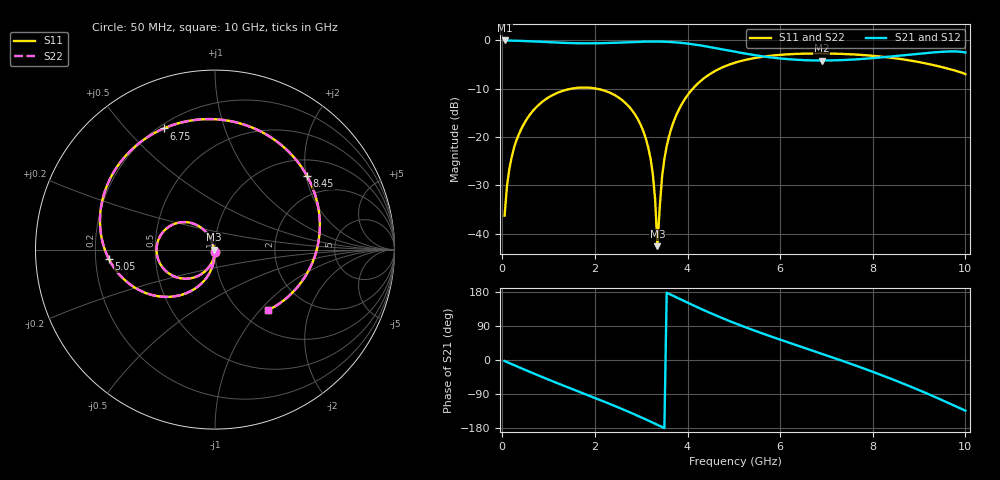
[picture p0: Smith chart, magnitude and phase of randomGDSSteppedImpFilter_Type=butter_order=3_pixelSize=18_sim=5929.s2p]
! freq	dB(S11)	phase(S11)	dB(S12)	phase(S12)
!  dB(S21)	phase(S21)	dB(S22)	phase(S22)
!S-par simulation data
#  GHz  S  DB  R 50
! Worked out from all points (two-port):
!   200 points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, 50 MHz to 10 GHz, reference 50 ohm
!   highest |S21| = 0.00 dB at 50 MHz (marker M1); lowest = -4.2 dB at 6.9 GHz (marker M2)
!   |S21| within 3 dB of the highest: start of sweep to 5.418 GHz; 8.726 GHz to end of sweep
!   lowest |S11| = -42.6 dB at 3.35 GHz (marker M3), VSWR 1.01, Z = 49.3 + j0.0401 ohm
!   |S11| at or under -10 dB: start of sweep to 1.485 GHz; 2.047 GHz to 4.114 GHz (2.067 GHz wide, 67.1 % of centre)
!   |S22| runs from -42.5 to -2.7 dB; largest |S21 - S12| = 0
!   S11 on the Smith chart (normalised r, x): 50 MHz: 1.00, -0.03; 5.05 GHz: 0.26, -0.04; 6.75 GHz: 0.22, +0.64; 8.45 GHz: 1.40, +2.02; 10 GHz: 1.31, -1.10
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0.05  -36.27 -92.5  -0.00 -2.7  -0.00 -2.7  -36.27 -92.5
0.2  -24.25 -100.9  -0.04 -10.7  -0.04 -10.7  -24.25 -100.9
0.5  -16.75 -117.0  -0.13 -26.4  -0.13 -26.4  -16.75 -117.0
1.1  -11.25 -147.3  -0.41 -56.8  -0.41 -56.8  -11.25 -147.3
1.75  -9.74 -178.6  -0.60 -88.2  -0.60 -88.2  -9.74 -178.6
2.5  -11.75 145.1  -0.46 -124.9  -0.46 -124.9  -11.75 145.1
3  -17.73 120.0  -0.27 -151.3  -0.27 -151.3  -17.73 120.1
3.25  -27.61 111.3  -0.23 -165.3  -0.23 -165.3  -27.61 111.5
3.35  -42.60 176.9  -0.23 -171.0  -0.23 -171.0  -42.49 176.9
3.4  -34.52 -103.4  -0.24 -173.9  -0.24 -173.9  -34.50 -103.8
3.55  -21.90 -97.4  -0.29 177.4  -0.29 177.4  -21.90 -97.5
3.85  -13.63 -112.4  -0.49 160.0  -0.49 160.0  -13.63 -112.4
4.45  -7.18 -145.0  -1.32 126.2  -1.32 126.2  -7.18 -145.0
5.05  -4.54 -174.8  -2.40 95.8  -2.40 95.8  -4.54 -174.8
5.8  -3.17 152.0  -3.52 62.2  -3.52 62.2  -3.17 152.0
6.7  -2.70 115.0  -4.14 24.7  -4.14 24.7  -2.70 115.0
6.75  -2.70 113.0  -4.15 22.7  -4.15 22.7  -2.70 113.0
6.9  -2.70 106.8  -4.16 16.4  -4.16 16.4  -2.70 106.8
8.35  -3.53 43.5  -3.36 -47.4  -3.36 -47.4  -3.53 43.4
8.45  -3.65 38.8  -3.27 -52.2  -3.27 -52.2  -3.65 38.7
9.3  -5.08 -3.9  -2.49 -95.2  -2.49 -95.2  -5.08 -4.0
10  -6.98 -48.8  -2.51 -133.7  -2.51 -133.7  -6.98 -49.0
